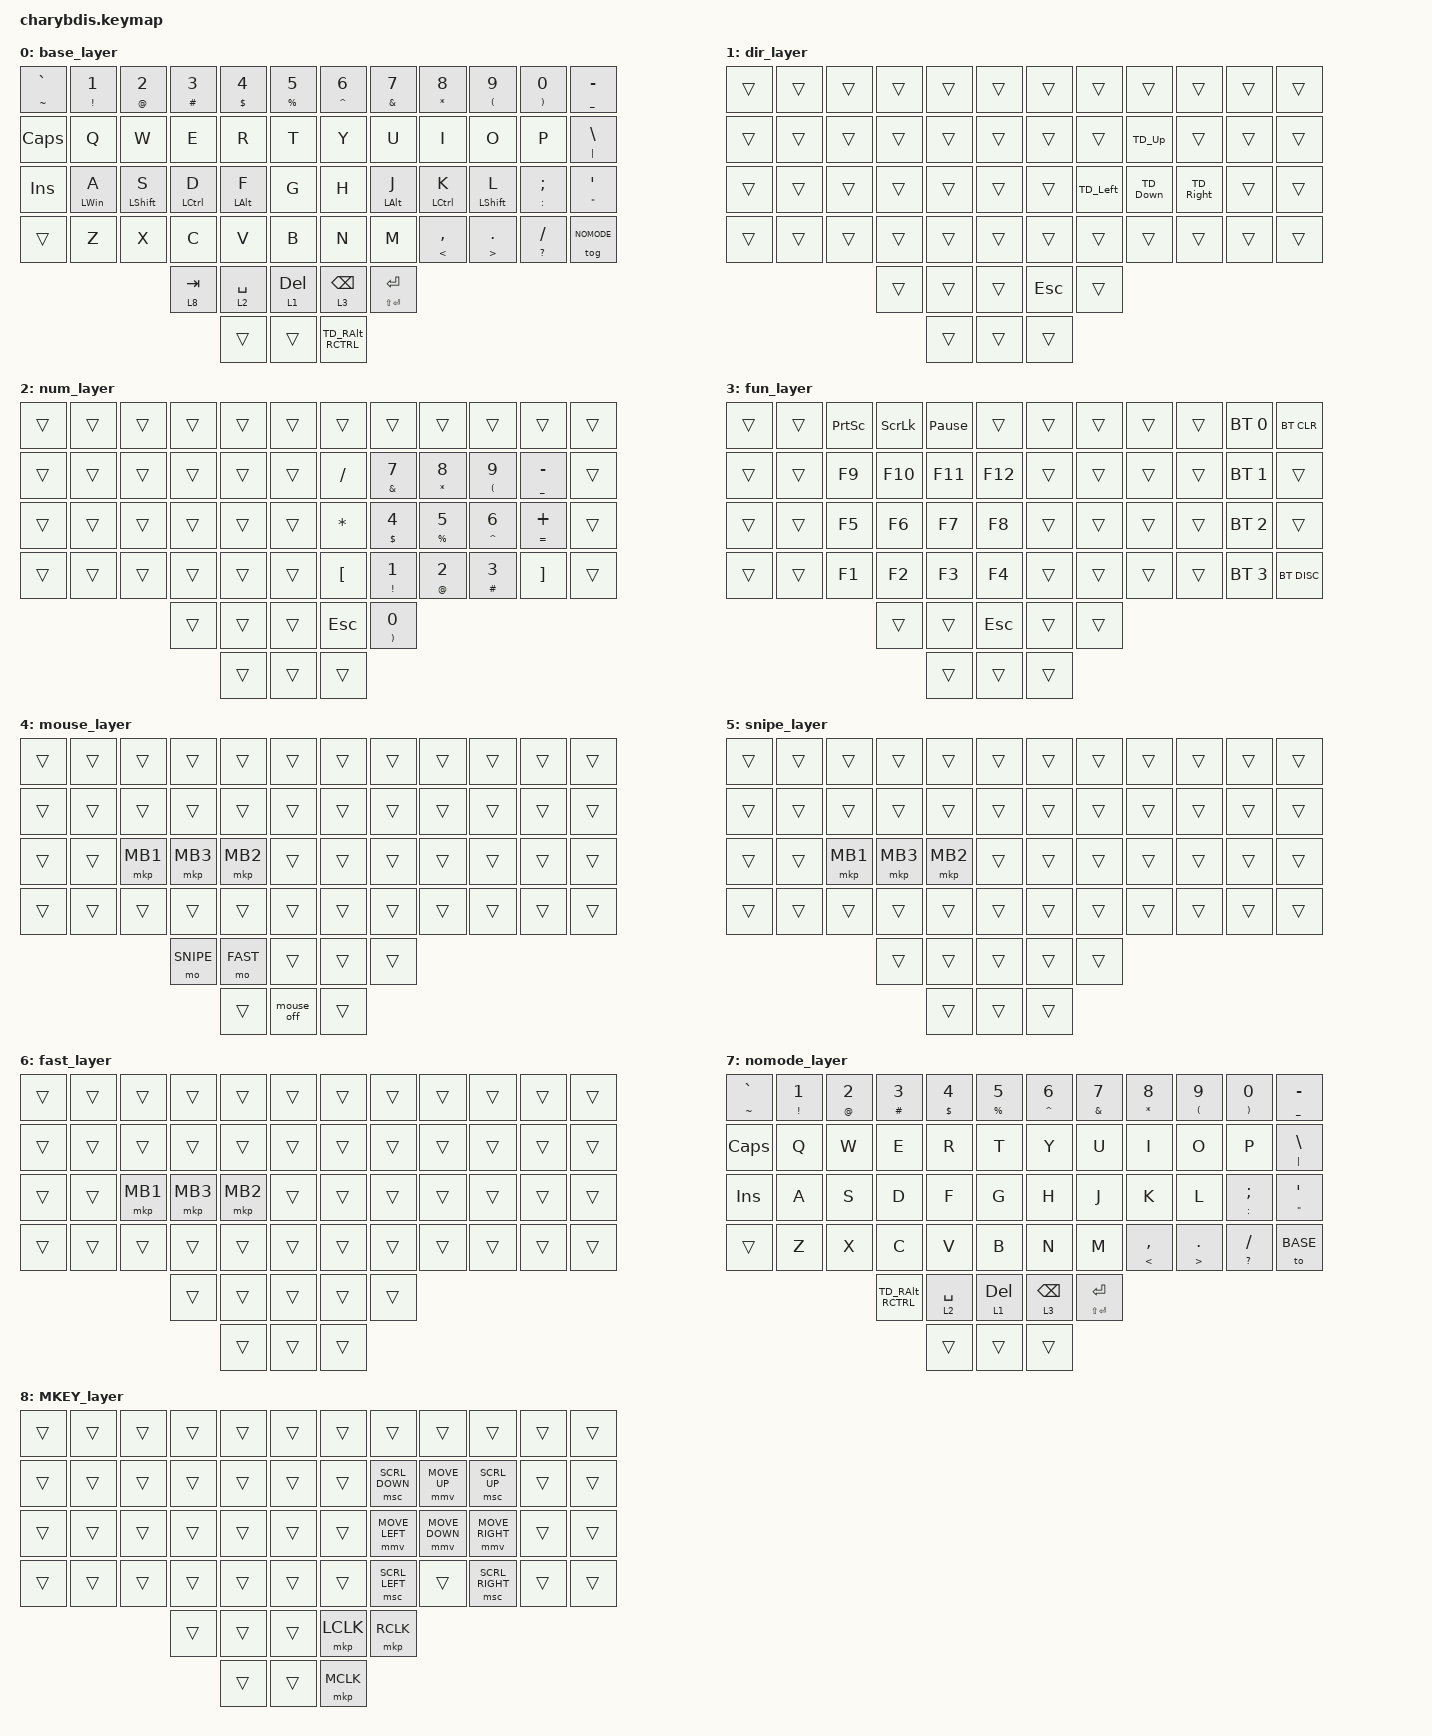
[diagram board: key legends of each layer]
#include <behaviors.dtsi>
#include <dt-bindings/zmk/keys.h>
#include <dt-bindings/zmk/bt.h>
#include <dt-bindings/zmk/mouse.h>
#include <dt-bindings/zmk/input_transform.h>
#include <input/processors.dtsi>
#include <dt-bindings/zmk/pointing.h>

#define BASE 0
#define DIR 1
#define NUM 2
#define FUN 3
#define MOUSE 4
#define SNIPE 5
#define FAST 6
#define NOMODE 7
#define MKEY 8


/ {
    mouse_off: mouse_off {
        compatible = "zmk,behavior-mouse-layer-off";
        #binding-cells = <0>;
        layer = <MOUSE>;
    };

    zip_threshold_layer: zip_threshold_layer {
        compatible = "zmk,input-processor-threshold-layer";
        #input-processor-cells = <2>;
        track-remainders;

        /* Minimum accumulated pointer movement before activation. */
        threshold = <300>;

        /* Trackball movement must continue for this duration. */
        activation-delay-ms = <0>;

        /* A longer event gap resets the continuous-movement timer. */
        movement-gap-ms = <150>;
    };
};

&lt {
    tapping-term-ms = <200>;
    flavor = "balanced";
    quick-tap-ms = <150>;
};

&trackball_listener {
    input-processors = <
        &zip_xy_scaler 1 1
		&zip_threshold_layer MOUSE 5000
    >;

    /* Hold DIR: convert trackball movement to vertical/horizontal scrolling. */
    scroll_mode {
        layers = <DIR>;
        input-processors = <
            &zip_xy_scaler 1 18
            &zip_xy_to_scroll_mapper
            &zip_scroll_transform (INPUT_TRANSFORM_Y_INVERT)
        >;
    };

    /* Auto-enabled MOUSE layer: normal speed, approximately the configured 800 CPI. */
    mouse_mode {
        layers = <MOUSE>;
        input-processors = <
            &zip_xy_scaler 1 2
            /* Keep refreshing the inactivity timeout after MOUSE activates. */
            &zip_threshold_layer MOUSE 5000
        >;
    };

    /* Hold SNIPE from the MOUSE layer: half-speed, approximately 400 CPI. */
    snipe_mode {
        layers = <SNIPE>;
        input-processors = <
            &zip_xy_scaler 1 5
            /* SNIPE movement also keeps the auto MOUSE layer alive. */
            &zip_threshold_layer MOUSE 5000
        >;
    };

    /* Hold FAST from the MOUSE layer: double-speed, approximately 1600 CPI. */
    fast_mode {
        layers = <FAST>;
        input-processors = <
            &zip_xy_scaler 1 1
            /* FAST movement also keeps the auto MOUSE layer alive. */
            &zip_threshold_layer MOUSE 5000
        >;
    };
};

/ {
    combos {
        compatible = "zmk,combos";

        combo_LBRK {
            timeout-ms = <100>;
            require-prior-idle-ms = <125>;
            key-positions = <8 9>;
            bindings = <&kp LBKT>;
            layers = <BASE>;
        };

        combo_RBRK {
            timeout-ms = <100>;
            require-prior-idle-ms = <125>;
            key-positions = <9 10>;
            bindings = <&kp RBKT>;
            layers = <BASE>;
        };

        combo_Tab {
            timeout-ms = <100>;
            require-prior-idle-ms = <125>;
            key-positions = <25 26>;
            bindings = <&kp TAB>;
            layers = <BASE>;
        };
		
        combo_cut {
            timeout-ms = <100>;
            require-prior-idle-ms = <125>;
            key-positions = <19 20>;
            bindings = <&kp LC(X)>;
            layers = <BASE>;
		};
		
        combo_copy {
            timeout-ms = <100>;
            require-prior-idle-ms = <125>;
            key-positions = <31 32>;
            bindings = <&kp LC(C)>;
            layers = <BASE>;
        };

        combo_paste {
            timeout-ms = <100>;
            require-prior-idle-ms = <125>;
            key-positions = <43 44>;
            bindings = <&kp LC(V)>;
            layers = <BASE>;
		};
		
        combo_undo {
            timeout-ms = <100>;
            require-prior-idle-ms = <125>;
            key-positions = <32 33>;
            bindings = <&kp LC(Z)>;
            layers = <BASE>;
		};
        
		combo_redo {
            timeout-ms = <100>;
            require-prior-idle-ms = <125>;
            key-positions = <20 21>;
            bindings = <&kp LC(Y)>;
            layers = <BASE>;
        };
    };

	behaviors {
        AS: auto_shift {
            compatible = "zmk,behavior-hold-tap";
            #binding-cells = <2>;
            bindings = <&kp>, <&kp>;
            tapping-term-ms = <200>;
            quick-tap-ms = <0>;
            flavor = "tap-preferred";
        };

		HRM_L: homerow_left {
			compatible = "zmk,behavior-hold-tap";
			#binding-cells = <2>;
			bindings = <&kp>, <&kp>;

			flavor = "balanced";
			tapping-term-ms = <280>;
			quick-tap-ms = <175>;
			require-prior-idle-ms = <150>;
			hold-trigger-on-release;
		};

		HRM_R: homerow_right {
			compatible = "zmk,behavior-hold-tap";
			#binding-cells = <2>;
			bindings = <&kp>, <&kp>;

			flavor = "balanced";
			tapping-term-ms = <280>;
			quick-tap-ms = <175>;
			require-prior-idle-ms = <150>;
			hold-trigger-on-release;
		};

		TD_RAlt_RCTRL: td_ralt_rctrl {
			compatible = "zmk,behavior-tap-dance";
			#binding-cells = <0>;
			bindings = <&kp RALT>, <&kp RCTRL>;
			tapping-term-ms = <180>;
		};

        TD_Right: td_right {
            compatible = "zmk,behavior-tap-dance";
            #binding-cells = <0>;
            bindings = <&kp RIGHT>, <&kp END>;
            tapping-term-ms = <180>;
        };

        TD_Left: td_left {
            compatible = "zmk,behavior-tap-dance";
            #binding-cells = <0>;
            bindings = <&kp LEFT>, <&kp HOME>;
            tapping-term-ms = <180>;
        };

        TD_Up: td_up {
            compatible = "zmk,behavior-tap-dance";
            #binding-cells = <0>;
            bindings = <&kp UP>, <&kp PAGE_UP>;
            tapping-term-ms = <180>;
        };

        TD_Down: td_down {
            compatible = "zmk,behavior-tap-dance";
            #binding-cells = <0>;
            bindings = <&kp DOWN>, <&kp PAGE_DOWN>;
            tapping-term-ms = <180>;
        };

        TD_Win: td_win {
            compatible = "zmk,behavior-tap-dance";
            #binding-cells = <0>;
            bindings = <&kp LEFT_WIN>, <&kp RIGHT_WIN>;
            tapping-term-ms = <180>;
        };

        TD_Shift_Caps: td_shift_caps {
            compatible = "zmk,behavior-tap-dance";
            #binding-cells = <0>;
            bindings = <&kp LEFT_SHIFT>, <&kp CAPS>;
            tapping-term-ms = <180>;
        };

        TD_Del_Ins: td_del_ins {
            compatible = "zmk,behavior-tap-dance";
            #binding-cells = <0>;
            bindings = <&kp DEL>, <&kp INS>;
            tapping-term-ms = <180>;
        };
    };

    keymap {
        compatible = "zmk,keymap";

        base_layer {
            bindings = <
                &AS TILDE GRAVE	&AS EXCLAMATION NUMBER_1  	&AS AT_SIGN NUMBER_2  &AS HASH NUMBER_3 &AS DOLLAR NUMBER_4  	&AS PERCENT N5	&AS CARET NUMBER_6  &AS AMPERSAND NUMBER_7	&AS ASTERISK N8  		&AS LEFT_PARENTHESIS N9 &AS RIGHT_PARENTHESIS N0  	&AS UNDERSCORE MINUS
                &kp CAPS	&kp Q  						&kp W  				  &kp E  			&kp R  					&kp T			&kp Y  				&kp U  					&kp I  					&kp O  					&kp P  						&AS PIPE BACKSLASH
                &kp INS  	&HRM_L LWIN A				&HRM_L LSHIFT S		  &HRM_L LCTRL  D 	&HRM_L LALT   F			&kp G           &kp H  				&HRM_L LALT   J			&HRM_R LCTRL  K			&HRM_R LSHIFT L  		&AS COLON SEMICOLON  		&AS DOUBLE_QUOTES SQT
                &trans		&kp Z  						&kp X  				  &kp C  			&kp V  					&kp B           &kp N  				&kp M  					&AS LESS_THAN COMMA  	&AS GREATER_THAN PERIOD	&AS QUESTION SLASH  		&tog NOMODE
																				  &lt 8 TAB  	&lt 2 SPACE		  		&lt 1 DEL		&lt 3 BACKSPACE		&AS LS(ENTER) ENTER  
																								&trans					&trans		  	&TD_RAlt_RCTRL
            >;
        };

        dir_layer {
            bindings = <
                &trans &trans &trans &trans &trans &trans    &trans  &trans 		&trans 		&trans		  &trans		&trans
                &trans &trans &trans &trans &trans &trans    &trans  &trans 		&TD_Up 		&trans 		  &trans		&trans
                &trans &trans &trans &trans &trans &trans    &trans  &TD_Left 		&TD_Down 	&TD_Right	  &trans		&trans
                &trans &trans &trans &trans &trans &trans    &trans  &trans 		&trans 		&trans 		  &trans		&trans
									 &trans &trans &trans	 &kp ESC 	&trans 
											&trans &trans	 &trans
            >;
        };

        num_layer {
            bindings = <
                &trans &trans &trans &trans &trans &trans    &trans 		&trans 						&trans 						&trans					&trans 					&trans
                &trans &trans &trans &trans &trans &trans    &kp SLASH 		&AS AMPERSAND NUMBER_7 	 	&AS ASTERISK NUMBER_8		&AS LEFT_PARENTHESIS N9 &AS UNDERSCORE MINUS	&trans
                &trans &trans &trans &trans &trans &trans    &kp ASTERISK 	&AS DOLLAR NUMBER_4 	 	&AS PERCENT N5 				&AS CARET NUMBER_6		&AS EQUAL PLUS 			&trans
                &trans &trans &trans &trans &trans &trans    &kp LBKT		&AS EXCLAMATION NUMBER_1	&AS AT_SIGN NUMBER_2 		&AS HASH NUMBER_3		&kp RBKT				&trans
									 &trans &trans &trans	 &kp ESC 		&AS RIGHT_PARENTHESIS N0
											&trans &trans	 &trans
            >;
        };

        fun_layer {
            bindings = <
                &trans 	&trans &kp PRINTSCREEN	&kp SCROLLLOCK	&kp PAUSE_BREAK	&trans   &trans &trans &trans &trans &bt BT_SEL 0 &bt BT_CLR
                &trans	&trans &kp F9			&kp F10			&kp F11 		&kp F12  &trans &trans &trans &trans &bt BT_SEL 1 &trans
                &trans	&trans &kp F5			&kp F6			&kp F7 			&kp F8   &trans &trans &trans &trans &bt BT_SEL 2 &trans
                &trans	&trans &kp F1			&kp F2 			&kp F3 			&kp F4   &trans &trans &trans &trans &bt BT_SEL 3 &bt BT_DISC
					    	   &trans 			&trans 			&kp ESC	 		&trans	 &trans 
												&trans 			&trans	 		&trans
            >;
        };

        mouse_layer {
            bindings = <
                &trans &trans &trans 	&trans 		&trans 	 	&trans   	&trans &trans &trans &trans &trans &trans
                &trans &trans &trans 	&trans 		&trans 	 	&trans   	&trans &trans &trans &trans &trans &trans
                &trans &trans &mkp MB1 	&mkp MB3 	&mkp MB2 	&trans  	&trans &trans &trans &trans &trans &trans
                &trans &trans &trans 	&trans 		&trans 	 	&trans   	&trans &trans &trans &trans &trans &trans
                                        &mo SNIPE	&mo FAST 	&trans   	&trans &trans 
													&trans 		&mouse_off 	&trans
            >;
        };

        snipe_layer {
            bindings = <
                &trans &trans &trans 	&trans 		&trans 	 	&trans   	&trans &trans &trans &trans &trans &trans
                &trans &trans &trans 	&trans 		&trans 	 	&trans   	&trans &trans &trans &trans &trans &trans
                &trans &trans &mkp MB1 	&mkp MB3 	&mkp MB2 	&trans  	&trans &trans &trans &trans &trans &trans
                &trans &trans &trans 	&trans 		&trans 	 	&trans   	&trans &trans &trans &trans &trans &trans
										&trans 		&trans 	 	&trans 		&trans &trans 
													&trans 	 	&trans	 	&trans
            >;
        };

        fast_layer {
            bindings = <
                &trans &trans &trans 	&trans 		&trans 	 	&trans   	&trans &trans &trans &trans &trans &trans
                &trans &trans &trans 	&trans 		&trans 	 	&trans   	&trans &trans &trans &trans &trans &trans
                &trans &trans &mkp MB1 	&mkp MB3 	&mkp MB2 	&trans  	&trans &trans &trans &trans &trans &trans
                &trans &trans &trans 	&trans 		&trans 	 	&trans   	&trans &trans &trans &trans &trans &trans
										&trans 		&trans 	 	&trans 		&trans &trans 
													&trans 	 	&trans	 	&trans
            >;
        };

        nomode_layer {
            bindings = <
                &AS TILDE GRAVE	&AS EXCLAMATION NUMBER_1  	&AS AT_SIGN NUMBER_2  &AS HASH NUMBER_3 &AS DOLLAR NUMBER_4  	&AS PERCENT N5	&AS CARET NUMBER_6  &AS AMPERSAND NUMBER_7	&AS ASTERISK N8  		&AS LEFT_PARENTHESIS N9 &AS RIGHT_PARENTHESIS N0  	&AS UNDERSCORE MINUS
                &kp CAPS	&kp Q  						&kp W  				  &kp E  			&kp R  					&kp T			&kp Y  				&kp U  					&kp I  					&kp O  					&kp P  						&AS PIPE BACKSLASH
                &kp INS  	&kp A						&kp S		  		  &kp D 			&kp F					&kp G           &kp H  				&kp J					&kp K					&kp L  					&AS COLON SEMICOLON  		&AS DOUBLE_QUOTES SQT
                &trans		&kp Z  						&kp X  				  &kp C  			&kp V  					&kp B           &kp N  				&kp M  					&AS LESS_THAN COMMA  	&AS GREATER_THAN PERIOD	&AS QUESTION SLASH  		&to BASE
																				  &TD_RAlt_RCTRL  	&lt 2 SPACE		  		&lt 1 DEL		&lt 3 BACKSPACE		&AS LS(ENTER) ENTER  
																									&trans					&trans		  	&trans 
			>;
        };

        MKEY_layer {
            bindings = <
                &trans &trans &trans 	&trans 		&trans 	 	&trans   	&trans 			&trans 					&trans 				&trans 				&trans &trans
                &trans &trans &trans 	&trans 		&trans 	 	&trans   	&trans 			&msc SCRL_DOWN			&mmv MOVE_UP 		&msc SCRL_UP	 	&trans &trans
                &trans &trans &trans 	&trans 		&trans 	 	&trans  	&trans 			&mmv MOVE_LEFT 			&mmv MOVE_DOWN	 	&mmv MOVE_RIGHT		&trans &trans
                &trans &trans &trans 	&trans 		&trans 	 	&trans   	&trans 			&msc SCRL_LEFT			&trans		 		&msc SCRL_RIGHT 	&trans &trans
										&trans 		&trans 	 	&trans 		&mkp LCLK 		&mkp RCLK 
													&trans 	 	&trans	 	&mkp MCLK
            >;
        };

    };
};
